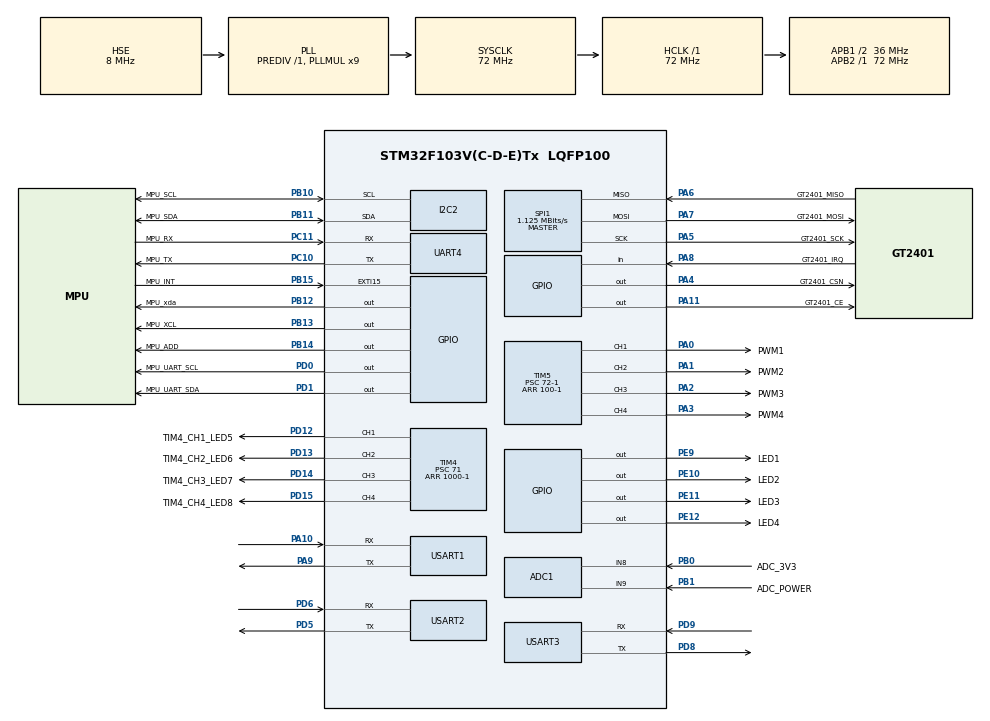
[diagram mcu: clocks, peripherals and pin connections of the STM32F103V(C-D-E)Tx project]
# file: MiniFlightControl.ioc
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ADC1.Channel-0\#ChannelRegularConversion=ADC_CHANNEL_8
ADC1.NbrOfConversionFlag=1
ADC1.Rank-0\#ChannelRegularConversion=1
ADC1.SamplingTime-0\#ChannelRegularConversion=ADC_SAMPLETIME_1CYCLE_5
ADC1.master=1
Dma.ADC1.0.Direction=DMA_PERIPH_TO_MEMORY
Dma.ADC1.0.Instance=DMA1_Channel1
Dma.ADC1.0.MemDataAlignment=DMA_MDATAALIGN_HALFWORD
Dma.ADC1.0.MemInc=DMA_MINC_ENABLE
Dma.ADC1.0.Mode=DMA_NORMAL
Dma.ADC1.0.PeriphDataAlignment=DMA_PDATAALIGN_HALFWORD
Dma.ADC1.0.PeriphInc=DMA_PINC_DISABLE
Dma.ADC1.0.Priority=DMA_PRIORITY_LOW
Dma.Request0=ADC1
Mcu.Family=STM32F1
Mcu.Name=STM32F103V(C-D-E)Tx
Mcu.Package=LQFP100
NVIC.DMA1_Channel1_IRQn=true\:0\:0\:false\:false\:true\:false\:true
NVIC.PriorityGroup=NVIC_PRIORITYGROUP_4
NVIC.TIM6_IRQn=true\:0\:0\:false\:false\:true\:true\:true
OSC_IN.Mode=HSE-External-Oscillator
OSC_IN.Signal=RCC_OSC_IN
OSC_OUT.Mode=HSE-External-Oscillator
OSC_OUT.Signal=RCC_OSC_OUT
PA0-WKUP.GPIO_Label=PWM1
PA0-WKUP.Signal=S_TIM5_CH1
PA1.GPIO_Label=PWM2
PA1.Signal=S_TIM5_CH2
PA10.Mode=Asynchronous
PA10.Signal=USART1_RX
PA11.GPIO_Label=GT2401_CE
PA11.Signal=GPIO_Output
PA13.Mode=Serial_Wire
PA13.Signal=SYS_JTMS-SWDIO
PA14.Mode=Serial_Wire
PA14.Signal=SYS_JTCK-SWCLK
PA2.GPIO_Label=PWM3
PA2.Signal=S_TIM5_CH3
PA3.GPIO_Label=PWM4
PA3.Signal=S_TIM5_CH4
PA4.GPIO_Label=GT2401_CSN
PA4.Signal=GPIO_Output
PA5.GPIO_Label=GT2401_SCK
PA5.Mode=Full_Duplex_Master
PA5.Signal=SPI1_SCK
PA6.GPIO_Label=GT2401_MISO
PA6.Mode=Full_Duplex_Master
PA6.Signal=SPI1_MISO
PA7.GPIO_Label=GT2401_MOSI
PA7.Mode=Full_Duplex_Master
PA7.Signal=SPI1_MOSI
PA8.GPIO_Label=GT2401_IRQ
PA8.Signal=GPIO_Input
PA9.Mode=Asynchronous
PA9.Signal=USART1_TX
PB0.GPIO_Label=ADC_3V3
PB0.Signal=ADCx_IN8
PB1.GPIO_Label=ADC_POWER
PB1.Signal=ADCx_IN9
PB10.GPIO_Label=MPU_SCL
PB10.Mode=I2C
PB10.Signal=I2C2_SCL
PB11.GPIO_Label=MPU_SDA
PB11.Mode=I2C
PB11.Signal=I2C2_SDA
PB12.GPIO_Label=MPU_xda
PB12.Signal=GPIO_Output
PB13.GPIO_Label=MPU_XCL
PB13.Signal=GPIO_Output
PB14.GPIO_Label=MPU_ADD
PB14.Signal=GPIO_Output
PB15.GPIO_Label=MPU_INT
PB15.Signal=GPXTI15
PC10.GPIO_Label=MPU_TX
PC10.Mode=Asynchronous
PC10.Signal=UART4_TX
PC11.GPIO_Label=MPU_RX
PC11.Mode=Asynchronous
PC11.Signal=UART4_RX
PD0.GPIO_Label=MPU_UART_SCL
PD0.Signal=GPIO_Output
PD1.GPIO_Label=MPU_UART_SDA
PD1.Signal=GPIO_Output
PD12.GPIO_Label=TIM4_CH1_LED5
PD12.Signal=S_TIM4_CH1
PD13.GPIO_Label=TIM4_CH2_LED6
PD13.Signal=S_TIM4_CH2
PD14.GPIO_Label=TIM4_CH3_LED7
PD14.Signal=S_TIM4_CH3
PD15.GPIO_Label=TIM4_CH4_LED8
PD15.Signal=S_TIM4_CH4
PD5.Mode=Asynchronous
PD5.Signal=USART2_TX
PD6.Mode=Asynchronous
PD6.Signal=USART2_RX
PD8.Mode=Asynchronous
PD8.Signal=USART3_TX
PD9.Mode=Asynchronous
PD9.Signal=USART3_RX
PE10.GPIO_Label=LED2
PE10.Signal=GPIO_Output
PE11.GPIO_Label=LED3
PE11.Signal=GPIO_Output
PE12.GPIO_Label=LED4
PE12.Signal=GPIO_Output
PE9.GPIO_Label=LED1
PE9.Signal=GPIO_Output
ProjectManager.HeapSize=0x200
ProjectManager.StackSize=0x400
ProjectManager.TargetToolchain=STM32CubeIDE
RCC.ADCPresc=RCC_ADCPCLK2_DIV6
RCC.AHBFreq_Value=72000000
RCC.APB1CLKDivider=RCC_HCLK_DIV2
RCC.APB1Freq_Value=36000000
RCC.APB1TimFreq_Value=72000000
RCC.APB2Freq_Value=72000000
RCC.APB2TimFreq_Value=72000000
RCC.HCLKFreq_Value=72000000
RCC.PLLMUL=RCC_PLL_MUL9
RCC.PLLSourceVirtual=RCC_PLLSOURCE_HSE
RCC.SYSCLKFreq_VALUE=72000000
RCC.SYSCLKSource=RCC_SYSCLKSOURCE_PLLCLK
RCC.USBFreq_Value=72000000
SH.ADCx_IN8.0=ADC1_IN8,IN8
SH.ADCx_IN9.0=ADC1_IN9,IN9
SH.S_TIM4_CH1.0=TIM4_CH1,PWM Generation1 CH1
SH.S_TIM4_CH2.0=TIM4_CH2,PWM Generation2 CH2
SH.S_TIM4_CH3.0=TIM4_CH3,PWM Generation3 CH3
SH.S_TIM4_CH4.0=TIM4_CH4,PWM Generation4 CH4
SH.S_TIM5_CH1.0=TIM5_CH1,PWM Generation1 CH1
SH.S_TIM5_CH2.0=TIM5_CH2,PWM Generation2 CH2
SH.S_TIM5_CH3.0=TIM5_CH3,PWM Generation3 CH3
SH.S_TIM5_CH4.0=TIM5_CH4,PWM Generation4 CH4
SPI1.BaudRatePrescaler=SPI_BAUDRATEPRESCALER_64
SPI1.CalculateBaudRate=1.125 MBits/s
SPI1.Direction=SPI_DIRECTION_2LINES
SPI1.Mode=SPI_MODE_MASTER
SPI1.VirtualType=VM_MASTER
TIM4.Channel-PWM\ Generation1\ CH1=TIM_CHANNEL_1
TIM4.Channel-PWM\ Generation2\ CH2=TIM_CHANNEL_2
TIM4.Channel-PWM\ Generation3\ CH3=TIM_CHANNEL_3
TIM4.Channel-PWM\ Generation4\ CH4=TIM_CHANNEL_4
TIM4.OCPolarity_1=TIM_OCPOLARITY_LOW
TIM4.OCPolarity_2=TIM_OCPOLARITY_LOW
TIM4.OCPolarity_3=TIM_OCPOLARITY_LOW
TIM4.OCPolarity_4=TIM_OCPOLARITY_LOW
TIM4.Period=1000-1
TIM4.Prescaler=71
TIM5.Channel-PWM\ Generation1\ CH1=TIM_CHANNEL_1
TIM5.Channel-PWM\ Generation2\ CH2=TIM_CHANNEL_2
TIM5.Channel-PWM\ Generation3\ CH3=TIM_CHANNEL_3
TIM5.Channel-PWM\ Generation4\ CH4=TIM_CHANNEL_4
TIM5.OCPolarity_1=TIM_OCPOLARITY_LOW
TIM5.OCPolarity_2=TIM_OCPOLARITY_LOW
TIM5.OCPolarity_3=TIM_OCPOLARITY_LOW
TIM5.OCPolarity_4=TIM_OCPOLARITY_LOW
TIM5.Period=100-1
TIM5.Prescaler=72-1
TIM6.Period=100
TIM6.Prescaler=72-1
UART4.VirtualMode=Asynchronous
USART1.VirtualMode=VM_ASYNC
USART2.VirtualMode=VM_ASYNC
USART3.VirtualMode=VM_ASYNC
VP_TIM4_VS_ClockSourceINT.Mode=Internal
VP_TIM6_VS_ClockSourceINT.Mode=Enable_Timer
board=custom

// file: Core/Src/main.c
/* USER CODE BEGIN Header */
/**
  ******************************************************************************
  * @file           : main.c
  * @brief          : Main program body
  ******************************************************************************
  * @attention
  *
  * <h2><center>&copy; Copyright (c) 2020 STMicroelectronics.
  * All rights reserved.</center></h2>
  *
  * This software component is licensed by ST under BSD 3-Clause license,
  * the "License"; You may not use this file except in compliance with the
  * License. You may obtain a copy of the License at:
  *                        opensource.org/licenses/BSD-3-Clause
  *
  ******************************************************************************
  */
/* USER CODE END Header */
#include "main.h"
#include "adc.h"
#include "dma.h"
#include "i2c.h"
#include "spi.h"
#include "tim.h"
#include "usart.h"
#include "gpio.h"

/* USER CODE BEGIN Includes */
#include "led.h"
#include "FlightDataDef.h"
/* USER CODE END Includes */

void SystemClock_Config(void);

int main(void)
{
  /* USER CODE BEGIN 1 */
	uint16_t pwmVal = 0;
	uint16_t dir = 0;
  /* USER CODE END 1 */

  /* MCU Configuration--------------------------------------------------------*/

  /* Reset of all peripherals, Initializes the Flash interface and the Systick. */
  HAL_Init();

  /* Configure the system clock */
  SystemClock_Config();

  /* Initialize all configured peripherals */
  MX_GPIO_Init();
  MX_DMA_Init();
  MX_ADC1_Init();
  MX_I2C2_Init();
  MX_SPI1_Init();
  MX_TIM4_Init();
  MX_TIM5_Init();
  MX_UART4_Init();
  MX_USART1_UART_Init();
  MX_USART2_UART_Init();
  MX_USART3_UART_Init();
  MX_TIM6_Init();
  /* USER CODE BEGIN 2 */

  HAL_TIM_PWM_Start(&htim4, TIM_CHANNEL_1);
  HAL_TIM_PWM_Start(&htim4, TIM_CHANNEL_2);
  HAL_TIM_PWM_Start(&htim4, TIM_CHANNEL_3);
  HAL_TIM_PWM_Start(&htim4, TIM_CHANNEL_4);

  while (MPU6050_Init(&hi2c2) == 1);
  /* USER CODE END 2 */

  /* Infinite loop */
  /* USER CODE BEGIN WHILE */
  led_off();
  while (1)
  {
	  MPU6050_Read_All(&hi2c2, Flight->GY521);
//    led_flicker();
    HAL_Delay(50);

    if(dir%2 == 0)
    	pwmVal += 20;
    else
    	pwmVal -= 20;

    if((pwmVal > 1000)||(pwmVal<10)){
    	pwmVal = 0;
    	dir++;
    }
   TIM4->CCR1 = pwmVal;
   TIM4->CCR2 = pwmVal;
   TIM4->CCR3 = pwmVal;
   TIM4->CCR4 = pwmVal;
    TIM4->CCR1 = pwmVal;
    TIM4->CCR2 = 0;
    TIM4->CCR3 = 0;
    TIM4->CCR4 = 0;
    /* USER CODE END WHILE */

  }
}

void SystemClock_Config(void)
{
  RCC_OscInitTypeDef RCC_OscInitStruct = {0};
  RCC_ClkInitTypeDef RCC_ClkInitStruct = {0};
  RCC_PeriphCLKInitTypeDef PeriphClkInit = {0};

  /** Initializes the RCC Oscillators according to the specified parameters
  * in the RCC_OscInitTypeDef structure.
  */
  RCC_OscInitStruct.OscillatorType = RCC_OSCILLATORTYPE_HSE;
  RCC_OscInitStruct.HSEState = RCC_HSE_ON;
  RCC_OscInitStruct.HSEPredivValue = RCC_HSE_PREDIV_DIV1;
  RCC_OscInitStruct.HSIState = RCC_HSI_ON;
  RCC_OscInitStruct.PLL.PLLState = RCC_PLL_ON;
  RCC_OscInitStruct.PLL.PLLSource = RCC_PLLSOURCE_HSE;
  RCC_OscInitStruct.PLL.PLLMUL = RCC_PLL_MUL9;
  if (HAL_RCC_OscConfig(&RCC_OscInitStruct) != HAL_OK)
  {
    Error_Handler();
  }
  /** Initializes the CPU, AHB and APB buses clocks
  */
  RCC_ClkInitStruct.ClockType = RCC_CLOCKTYPE_HCLK|RCC_CLOCKTYPE_SYSCLK
                              |RCC_CLOCKTYPE_PCLK1|RCC_CLOCKTYPE_PCLK2;
  RCC_ClkInitStruct.SYSCLKSource = RCC_SYSCLKSOURCE_PLLCLK;
  RCC_ClkInitStruct.AHBCLKDivider = RCC_SYSCLK_DIV1;
  RCC_ClkInitStruct.APB1CLKDivider = RCC_HCLK_DIV2;
  RCC_ClkInitStruct.APB2CLKDivider = RCC_HCLK_DIV1;

  if (HAL_RCC_ClockConfig(&RCC_ClkInitStruct, FLASH_LATENCY_2) != HAL_OK)
  {
    Error_Handler();
  }
  PeriphClkInit.PeriphClockSelection = RCC_PERIPHCLK_ADC;
  PeriphClkInit.AdcClockSelection = RCC_ADCPCLK2_DIV6;
  if (HAL_RCCEx_PeriphCLKConfig(&PeriphClkInit) != HAL_OK)
  {
    Error_Handler();
  }
}

void Error_Handler(void)
{
}

/************************ (C) COPYRIGHT STMicroelectronics *****END OF FILE****/
